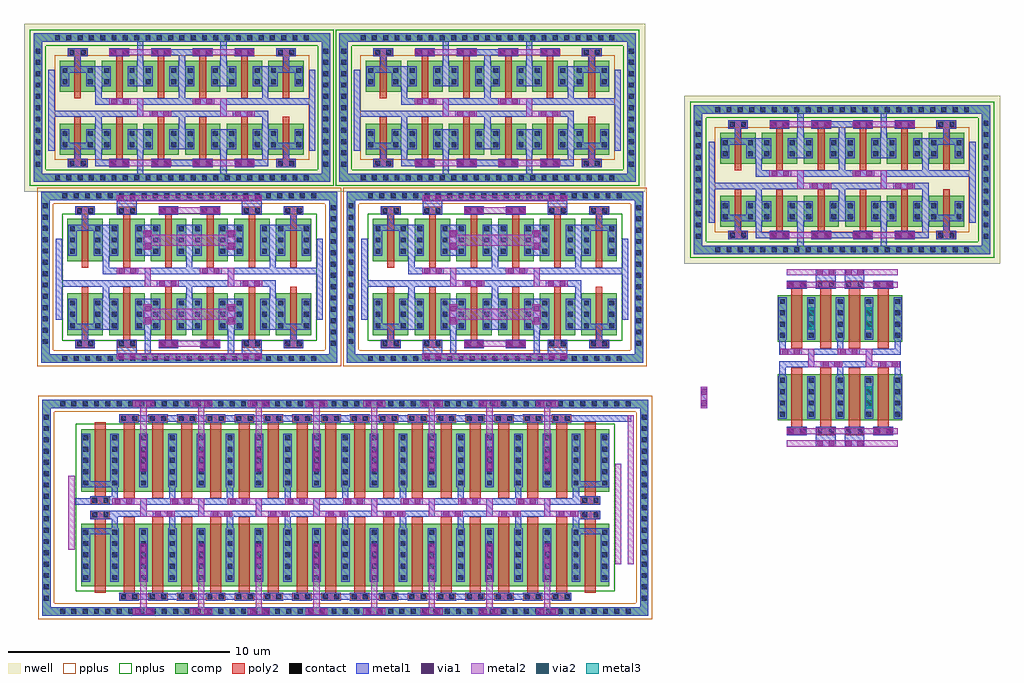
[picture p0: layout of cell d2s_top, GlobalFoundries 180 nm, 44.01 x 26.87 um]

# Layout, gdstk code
from math import pi, radians
import gdstk
lib = gdstk.Library(unit=1e-6, precision=5e-09)
def R(c, l, rs):  # rectangles x0, y0, x1, y1
    for r in rs: c.add(gdstk.rectangle(r[:2], r[2:], *l))
def A(c, l, x, y, w, h, nx, ny, dx, dy):  # array of equal rectangles
    R(c, l, [(x+i*dx, y+j*dy, x+i*dx+w, y+j*dy+h) for i in range(nx) for j in range(ny)])
nwell = (21, 0)
comp = (22, 0)
poly2 = (30, 0)
pplus = (31, 0)
nplus = (32, 0)
contact = (33, 0)
metal1 = (34, 0)
via1 = (35, 0)
metal2 = (36, 0)
via2 = (38, 0)
metal3 = (42, 0)

d2s_ncell_1_1_1 = lib.new_cell('d2s_ncell_1$1$1')
R(d2s_ncell_1_1_1, comp, [(0,0.3,0.46,2.2), (0.46,0.3,1.14,2.2), (1.14,0.3,1.6,2.2)])
R(d2s_ncell_1_1_1, poly2, [(0.65,0,0.95,2.5)])
A(d2s_ncell_1_1_1, contact, 0.12, 0.63, 0.22, 0.22, 1, 3, 0, 0.51)
A(d2s_ncell_1_1_1, contact, 1.26, 0.63, 0.22, 0.22, 1, 3, 0, 0.51)
R(d2s_ncell_1_1_1, metal1, [(0.04,0.55,0.42,1.95), (1.18,0.55,1.56,1.95)])

d2s_ncell_4_1 = lib.new_cell('d2s_ncell_4$1')
A(d2s_ncell_4_1, poly2, 0.365, 2.4, 0.87, 0.36, 6, 1, 1.88, 0)
R(d2s_ncell_4_1, contact, [(0.435,2.47,0.655,2.69), (0.945,2.47,1.165,2.69), (2.315,2.47,2.535,2.69), (2.825,2.47,3.045,2.69), (4.195,2.47,4.415,2.69), (4.705,2.47,4.925,2.69), (6.075,2.47,6.295,2.69), (6.585,2.47,6.805,2.69), (7.955,2.47,8.175,2.69), (8.465,2.47,8.685,2.69), (9.835,2.47,10.055,2.69), (10.345,2.47,10.565,2.69)])
A(d2s_ncell_4_1, metal1, 1.56, 0.55, 0.36, 1.4, 5, 1, 1.88, 0)
R(d2s_ncell_4_1, metal1, [(0.355,2.39,1.245,2.77), (2.235,2.39,3.125,3.28), (4.115,2.39,5.005,2.77), (5.995,2.39,6.885,2.77), (7.875,2.39,8.765,3.28), (9.755,2.39,10.645,2.77)])
R(d2s_ncell_4_1, via1, [(3.49,0.86,3.75,1.12), (7.25,0.86,7.51,1.12), (3.49,1.38,3.75,1.64), (7.25,1.38,7.51,1.64), (4.17,2.45,4.43,2.71), (4.69,2.45,4.95,2.71), (6.055,2.45,6.315,2.71), (6.575,2.45,6.835,2.71), (2.29,3.01,2.55,3.27), (2.81,3.01,3.07,3.27), (7.93,3.01,8.19,3.27), (8.45,3.01,8.71,3.27)])
R(d2s_ncell_4_1, metal2, [(3.43,0.805,3.81,1.695), (7.19,0.805,7.57,1.695)])
d2s_ncell_4_1.add(gdstk.FlexPath([(9.82,1.81),(10.58,1.81)], 0.28, ends="flush", simple_path=True, layer=34, datatype=0))  # metal1
d2s_ncell_4_1.add(gdstk.FlexPath([(10.2,2.39),(10.2,1.95)], 0.28, ends="flush", simple_path=True, layer=34, datatype=0))  # metal1
d2s_ncell_4_1.add(gdstk.FlexPath([(0.8,2.39),(0.8,1.95)], 0.28, ends="flush", simple_path=True, layer=34, datatype=0))  # metal1
d2s_ncell_4_1.add(gdstk.FlexPath([(0.42,1.81),(1.18,1.81)], 0.28, ends="flush", simple_path=True, layer=34, datatype=0))  # metal1
d2s_ncell_4_1.add(gdstk.FlexPath([(3.81,1.25),(7.19,1.25)], 0.5, ends="flush", simple_path=True, layer=36, datatype=0))  # metal2
d2s_ncell_4_1.add(gdstk.FlexPath([(6.89,2.58),(4.11,2.58)], 0.28, ends="flush", simple_path=True, layer=36, datatype=0))  # metal2
d2s_ncell_4_1.add(gdstk.FlexPath([(8.77,3.14),(2.23,3.14)], 0.28, ends="flush", simple_path=True, layer=36, datatype=0))  # metal2
d2s_ncell_4_1.add(gdstk.Reference(d2s_ncell_1_1_1, (0,0)))
d2s_ncell_4_1.add(gdstk.Reference(d2s_ncell_1_1_1, (1.88,0)))
d2s_ncell_4_1.add(gdstk.Reference(d2s_ncell_1_1_1, (3.76,0)))
d2s_ncell_4_1.add(gdstk.Reference(d2s_ncell_1_1_1, (5.64,0)))
d2s_ncell_4_1.add(gdstk.Reference(d2s_ncell_1_1_1, (7.52,0)))
d2s_ncell_4_1.add(gdstk.Reference(d2s_ncell_1_1_1, (9.4,0)))

d2s_ncell_top = lib.new_cell('d2s_ncell_top')
R(d2s_ncell_top, nplus, [(1.11,1.16,12.59,6.89)])
A(d2s_ncell_top, contact, 1.13, 0.25, 0.22, 0.22, 23, 2, 0.51, 7.33)
A(d2s_ncell_top, contact, 13.23, 0.935, 0.22, 0.22, 1, 13, 0, 0.51)
A(d2s_ncell_top, contact, 0.25, 1.015, 0.22, 0.22, 1, 13, 0, 0.51)
R(d2s_ncell_top, via1, [(5.49,3.615,5.75,3.875), (6.01,3.615,6.27,3.875), (9.25,3.615,9.51,3.875), (9.77,3.615,10.03,3.875), (3.67,4.175,3.93,4.435), (4.19,4.175,4.45,4.435), (7.43,4.175,7.69,4.435), (7.95,4.175,8.21,4.435)])
d2s_ncell_top.add(gdstk.FlexPath([(13.34,7.88),(13.34,0.36),(0.36,0.36),(0.36,7.69),(13.53,7.69)], 0.38, ends="flush", simple_path=True, layer=34, datatype=0))  # metal1
d2s_ncell_top.add(gdstk.FlexPath([(10.61,5),(10.61,4.445)], 0.28, ends="flush", simple_path=True, layer=34, datatype=0))  # metal1
d2s_ncell_top.add(gdstk.FlexPath([(6.85,5),(6.85,4.445)], 0.28, ends="flush", simple_path=True, layer=34, datatype=0))  # metal1
d2s_ncell_top.add(gdstk.FlexPath([(3.09,5),(3.09,4.445)], 0.28, ends="flush", simple_path=True, layer=34, datatype=0))  # metal1
d2s_ncell_top.add(gdstk.FlexPath([(6.37,4.305),(4.97,4.305),(4.97,3.745),(3.57,3.745)], 0.28, ends="flush", simple_path=True, layer=34, datatype=0))  # metal1
d2s_ncell_top.add(gdstk.FlexPath([(4.55,4.305),(3.57,4.305)], 0.28, ends="flush", simple_path=True, layer=34, datatype=0))  # metal1
d2s_ncell_top.add(gdstk.FlexPath([(6.37,3.745),(5.39,3.745)], 0.28, ends="flush", simple_path=True, layer=34, datatype=0))  # metal1
d2s_ncell_top.add(gdstk.FlexPath([(6.37,4.305),(7.33,4.305)], 0.28, ends="flush", simple_path=True, layer=34, datatype=0))  # metal1
d2s_ncell_top.add(gdstk.FlexPath([(6.37,3.745),(7.33,3.745)], 0.28, ends="flush", simple_path=True, layer=34, datatype=0))  # metal1
d2s_ncell_top.add(gdstk.FlexPath([(3.57,4.305),(2.95,4.305)], 0.28, ends="flush", simple_path=True, layer=34, datatype=0))  # metal1
d2s_ncell_top.add(gdstk.FlexPath([(3.57,3.745),(2.95,3.745)], 0.28, ends="flush", simple_path=True, layer=34, datatype=0))  # metal1
d2s_ncell_top.add(gdstk.FlexPath([(6.85,5),(6.85,4.445)], 0.28, ends="flush", simple_path=True, layer=34, datatype=0))  # metal1
d2s_ncell_top.add(gdstk.FlexPath([(10.13,4.305),(8.73,4.305),(8.73,3.745),(7.33,3.745)], 0.28, ends="flush", simple_path=True, layer=34, datatype=0))  # metal1
d2s_ncell_top.add(gdstk.FlexPath([(8.31,4.305),(7.33,4.305)], 0.28, ends="flush", simple_path=True, layer=34, datatype=0))  # metal1
d2s_ncell_top.add(gdstk.FlexPath([(10.13,3.745),(9.15,3.745)], 0.28, ends="flush", simple_path=True, layer=34, datatype=0))  # metal1
d2s_ncell_top.add(gdstk.FlexPath([(10.75,4.305),(10.13,4.305)], 0.28, ends="flush", simple_path=True, layer=34, datatype=0))  # metal1
d2s_ncell_top.add(gdstk.FlexPath([(10.75,3.745),(10.13,3.745)], 0.28, ends="flush", simple_path=True, layer=34, datatype=0))  # metal1
d2s_ncell_top.add(gdstk.FlexPath([(10.61,3.605),(10.61,3.05)], 0.28, ends="flush", simple_path=True, layer=34, datatype=0))  # metal1
d2s_ncell_top.add(gdstk.FlexPath([(6.85,3.605),(6.85,3.05)], 0.28, ends="flush", simple_path=True, layer=34, datatype=0))  # metal1
d2s_ncell_top.add(gdstk.FlexPath([(3.09,3.605),(3.09,3.05)], 0.28, ends="flush", simple_path=True, layer=34, datatype=0))  # metal1
d2s_ncell_top.add(gdstk.FlexPath([(6.85,3.605),(6.85,3.05)], 0.28, ends="flush", simple_path=True, layer=34, datatype=0))  # metal1
d2s_ncell_top.add(gdstk.FlexPath([(10.75,4.305),(12.59,4.305)], 0.28, ends="flush", simple_path=True, layer=34, datatype=0))  # metal1
d2s_ncell_top.add(gdstk.FlexPath([(1.11,3.745),(2.95,3.745)], 0.28, ends="flush", simple_path=True, layer=34, datatype=0))  # metal1
d2s_ncell_top.add(gdstk.FlexPath([(12.73,5.76),(12.73,2.11)], 0.28, ends="flush", simple_path=True, layer=34, datatype=0))  # metal1
d2s_ncell_top.add(gdstk.FlexPath([(0.97,5.76),(0.97,2.11)], 0.28, ends="flush", simple_path=True, layer=34, datatype=0))  # metal1
d2s_ncell_top.add(gdstk.FlexPath([(8.73,0.55),(8.73,1.65)], 0.28, ends="flush", simple_path=True, layer=34, datatype=0))  # metal1
d2s_ncell_top.add(gdstk.FlexPath([(4.97,0.55),(4.97,1.65)], 0.28, ends="flush", simple_path=True, layer=34, datatype=0))  # metal1
d2s_ncell_top.add(gdstk.FlexPath([(13.29,5.76),(13.29,2.11)], 0.28, ends="flush", simple_path=True, layer=34, datatype=0))  # metal1
d2s_ncell_top.add(gdstk.FlexPath([(13.34,7.88),(13.34,0.36),(0.36,0.36),(0.36,7.69),(13.53,7.69)], 0.38, ends="flush", simple_path=True, layer=22, datatype=0))  # comp
d2s_ncell_top.add(gdstk.FlexPath([(10.13,3.745),(8.73,3.745),(8.73,4.305),(7.33,4.305)], 0.28, ends="flush", simple_path=True, layer=36, datatype=0))  # metal2
d2s_ncell_top.add(gdstk.FlexPath([(6.37,3.745),(4.97,3.745),(4.97,4.305),(3.57,4.305)], 0.28, ends="flush", simple_path=True, layer=36, datatype=0))  # metal2
d2s_ncell_top.add(gdstk.FlexPath([(13.34,8.05),(13.34,0.36),(0.36,0.36),(0.36,7.69),(13.7,7.69)], 0.72, ends="flush", simple_path=True, layer=31, datatype=0))  # pplus
d2s_ncell_top.add(gdstk.Reference(d2s_ncell_4_1, (1.35,4.45)))
d2s_ncell_top.add(gdstk.Reference(d2s_ncell_4_1, (1.35,3.6), x_reflection=True))

d2s_pcell_1_1_1 = lib.new_cell('d2s_pcell_1$1$1')
R(d2s_pcell_1_1_1, comp, [(0,0.3,0.46,1.7), (0.46,0.3,1.14,1.7), (1.14,0.3,1.6,1.7)])
R(d2s_pcell_1_1_1, poly2, [(0.65,0,0.95,2)])
R(d2s_pcell_1_1_1, contact, [(0.12,0.635,0.34,0.855), (1.26,0.635,1.48,0.855), (0.12,1.145,0.34,1.365), (1.26,1.145,1.48,1.365)])
R(d2s_pcell_1_1_1, metal1, [(0.04,0.555,0.42,1.445), (1.18,0.555,1.56,1.445)])

d2s_pcell_4_1 = lib.new_cell('d2s_pcell_4$1')
A(d2s_pcell_4_1, poly2, 0.365, 1.9, 0.87, 0.36, 6, 1, 1.88, 0)
R(d2s_pcell_4_1, contact, [(0.435,1.97,0.655,2.19), (0.945,1.97,1.165,2.19), (2.315,1.97,2.535,2.19), (2.825,1.97,3.045,2.19), (4.195,1.97,4.415,2.19), (4.705,1.97,4.925,2.19), (6.075,1.97,6.295,2.19), (6.585,1.97,6.805,2.19), (7.955,1.97,8.175,2.19), (8.465,1.97,8.685,2.19), (9.835,1.97,10.055,2.19), (10.345,1.97,10.565,2.19)])
A(d2s_pcell_4_1, metal1, 1.56, 0.555, 0.36, 0.89, 5, 1, 1.88, 0)
A(d2s_pcell_4_1, metal1, 0.355, 1.89, 0.89, 0.38, 6, 1, 1.88, 0)
R(d2s_pcell_4_1, via1, [(2.29,1.95,2.55,2.21), (2.81,1.95,3.07,2.21), (4.17,1.95,4.43,2.21), (4.69,1.95,4.95,2.21), (6.05,1.95,6.31,2.21), (6.57,1.95,6.83,2.21), (7.93,1.95,8.19,2.21), (8.45,1.95,8.71,2.21)])
d2s_pcell_4_1.add(gdstk.FlexPath([(10.2,1.89),(10.2,1.445)], 0.28, ends="flush", simple_path=True, layer=34, datatype=0))  # metal1
d2s_pcell_4_1.add(gdstk.FlexPath([(9.82,1.305),(10.58,1.305)], 0.28, ends="flush", simple_path=True, layer=34, datatype=0))  # metal1
d2s_pcell_4_1.add(gdstk.FlexPath([(0.8,1.89),(0.8,1.445)], 0.28, ends="flush", simple_path=True, layer=34, datatype=0))  # metal1
d2s_pcell_4_1.add(gdstk.FlexPath([(1.18,1.305),(0.42,1.305)], 0.28, ends="flush", simple_path=True, layer=34, datatype=0))  # metal1
d2s_pcell_4_1.add(gdstk.FlexPath([(5.01,2.08),(2.23,2.08)], 0.28, ends="flush", simple_path=True, layer=36, datatype=0))  # metal2
d2s_pcell_4_1.add(gdstk.FlexPath([(8.77,2.08),(5.99,2.08)], 0.28, ends="flush", simple_path=True, layer=36, datatype=0))  # metal2
d2s_pcell_4_1.add(gdstk.Reference(d2s_pcell_1_1_1, (1.88,0)))
d2s_pcell_4_1.add(gdstk.Reference(d2s_pcell_1_1_1, (3.76,0)))
d2s_pcell_4_1.add(gdstk.Reference(d2s_pcell_1_1_1, (5.64,0)))
d2s_pcell_4_1.add(gdstk.Reference(d2s_pcell_1_1_1, (7.52,0)))
d2s_pcell_4_1.add(gdstk.Reference(d2s_pcell_1_1_1, (9.4,0)))
d2s_pcell_4_1.add(gdstk.Reference(d2s_pcell_1_1_1, (1.6,0), rotation=pi, x_reflection=True))

d2s_pcell_top = lib.new_cell('d2s_pcell_top')
R(d2s_pcell_top, nwell, [(0,0,14.24,7.58)])
R(d2s_pcell_top, pplus, [(1.38,1.43,12.86,6.15)])
A(d2s_pcell_top, contact, 1.4, 0.52, 0.22, 0.22, 23, 2, 0.51, 6.32)
A(d2s_pcell_top, contact, 0.52, 1.13, 0.22, 0.22, 1, 11, 0, 0.51)
A(d2s_pcell_top, contact, 13.5, 1.13, 0.22, 0.22, 1, 11, 0, 0.51)
R(d2s_pcell_top, via1, [(5.76,3.38,6.02,3.64), (6.28,3.38,6.54,3.64), (9.52,3.38,9.78,3.64), (10.04,3.38,10.3,3.64), (3.94,3.94,4.2,4.2), (4.46,3.94,4.72,4.2), (7.7,3.94,7.96,4.2), (8.22,3.94,8.48,4.2)])
d2s_pcell_top.add(gdstk.FlexPath([(13.61,7.14),(13.61,0.63),(0.63,0.63),(0.63,6.95),(13.42,6.95)], 0.38, ends="flush", simple_path=True, layer=34, datatype=0))  # metal1
d2s_pcell_top.add(gdstk.FlexPath([(10.88,4.765),(10.88,4.21)], 0.28, ends="flush", simple_path=True, layer=34, datatype=0))  # metal1
d2s_pcell_top.add(gdstk.FlexPath([(7.12,4.765),(7.12,4.21)], 0.28, ends="flush", simple_path=True, layer=34, datatype=0))  # metal1
d2s_pcell_top.add(gdstk.FlexPath([(3.36,4.765),(3.36,4.21)], 0.28, ends="flush", simple_path=True, layer=34, datatype=0))  # metal1
d2s_pcell_top.add(gdstk.FlexPath([(6.64,4.07),(5.24,4.07),(5.24,3.51),(3.84,3.51)], 0.28, ends="flush", simple_path=True, layer=34, datatype=0))  # metal1
d2s_pcell_top.add(gdstk.FlexPath([(4.82,4.07),(3.84,4.07)], 0.28, ends="flush", simple_path=True, layer=34, datatype=0))  # metal1
d2s_pcell_top.add(gdstk.FlexPath([(6.64,3.51),(5.66,3.51)], 0.28, ends="flush", simple_path=True, layer=34, datatype=0))  # metal1
d2s_pcell_top.add(gdstk.FlexPath([(6.64,4.07),(7.6,4.07)], 0.28, ends="flush", simple_path=True, layer=34, datatype=0))  # metal1
d2s_pcell_top.add(gdstk.FlexPath([(6.64,3.51),(7.6,3.51)], 0.28, ends="flush", simple_path=True, layer=34, datatype=0))  # metal1
d2s_pcell_top.add(gdstk.FlexPath([(3.84,4.07),(3.22,4.07)], 0.28, ends="flush", simple_path=True, layer=34, datatype=0))  # metal1
d2s_pcell_top.add(gdstk.FlexPath([(3.84,3.51),(3.22,3.51)], 0.28, ends="flush", simple_path=True, layer=34, datatype=0))  # metal1
d2s_pcell_top.add(gdstk.FlexPath([(7.12,4.765),(7.12,4.21)], 0.28, ends="flush", simple_path=True, layer=34, datatype=0))  # metal1
d2s_pcell_top.add(gdstk.FlexPath([(10.4,4.07),(9,4.07),(9,3.51),(7.6,3.51)], 0.28, ends="flush", simple_path=True, layer=34, datatype=0))  # metal1
d2s_pcell_top.add(gdstk.FlexPath([(7.12,5.655),(7.12,6.15)], 0.28, ends="flush", simple_path=True, layer=34, datatype=0))  # metal1
d2s_pcell_top.add(gdstk.FlexPath([(10.385,1.29),(10.88,1.29),(10.88,1.925)], 0.28, ends="flush", simple_path=True, layer=34, datatype=0))  # metal1
d2s_pcell_top.add(gdstk.FlexPath([(3.855,1.29),(3.36,1.29),(3.36,1.925)], 0.28, ends="flush", simple_path=True, layer=34, datatype=0))  # metal1
d2s_pcell_top.add(gdstk.FlexPath([(8.58,4.07),(7.6,4.07)], 0.28, ends="flush", simple_path=True, layer=34, datatype=0))  # metal1
d2s_pcell_top.add(gdstk.FlexPath([(10.4,3.51),(9.42,3.51)], 0.28, ends="flush", simple_path=True, layer=34, datatype=0))  # metal1
d2s_pcell_top.add(gdstk.FlexPath([(11.02,4.07),(10.4,4.07)], 0.28, ends="flush", simple_path=True, layer=34, datatype=0))  # metal1
d2s_pcell_top.add(gdstk.FlexPath([(11.02,3.51),(10.4,3.51)], 0.28, ends="flush", simple_path=True, layer=34, datatype=0))  # metal1
d2s_pcell_top.add(gdstk.FlexPath([(10.88,3.37),(10.88,2.815)], 0.28, ends="flush", simple_path=True, layer=34, datatype=0))  # metal1
d2s_pcell_top.add(gdstk.FlexPath([(7.12,3.37),(7.12,2.815)], 0.28, ends="flush", simple_path=True, layer=34, datatype=0))  # metal1
d2s_pcell_top.add(gdstk.FlexPath([(3.36,3.37),(3.36,2.815)], 0.28, ends="flush", simple_path=True, layer=34, datatype=0))  # metal1
d2s_pcell_top.add(gdstk.FlexPath([(7.12,3.37),(7.12,2.815)], 0.28, ends="flush", simple_path=True, layer=34, datatype=0))  # metal1
d2s_pcell_top.add(gdstk.FlexPath([(7.615,6.29),(6.625,6.29)], 0.28, ends="flush", simple_path=True, layer=34, datatype=0))  # metal1
d2s_pcell_top.add(gdstk.FlexPath([(7.615,1.29),(6.625,1.29)], 0.28, ends="flush", simple_path=True, layer=34, datatype=0))  # metal1
d2s_pcell_top.add(gdstk.FlexPath([(5.24,1.925),(5.24,0.82)], 0.28, ends="flush", simple_path=True, layer=34, datatype=0))  # metal1
d2s_pcell_top.add(gdstk.FlexPath([(9,1.925),(9,0.82)], 0.28, ends="flush", simple_path=True, layer=34, datatype=0))  # metal1
d2s_pcell_top.add(gdstk.FlexPath([(5.24,6.76),(5.24,5.655)], 0.28, ends="flush", simple_path=True, layer=34, datatype=0))  # metal1
d2s_pcell_top.add(gdstk.FlexPath([(9,6.76),(9,5.655)], 0.28, ends="flush", simple_path=True, layer=34, datatype=0))  # metal1
d2s_pcell_top.add(gdstk.FlexPath([(11.02,4.07),(12.86,4.07)], 0.28, ends="flush", simple_path=True, layer=34, datatype=0))  # metal1
d2s_pcell_top.add(gdstk.FlexPath([(13,5.495),(13,1.845)], 0.28, ends="flush", simple_path=True, layer=34, datatype=0))  # metal1
d2s_pcell_top.add(gdstk.FlexPath([(1.38,3.51),(3.22,3.51)], 0.28, ends="flush", simple_path=True, layer=34, datatype=0))  # metal1
d2s_pcell_top.add(gdstk.FlexPath([(1.24,5.495),(1.24,1.845)], 0.28, ends="flush", simple_path=True, layer=34, datatype=0))  # metal1
d2s_pcell_top.add(gdstk.FlexPath([(13.61,7.14),(13.61,0.63),(0.63,0.63),(0.63,6.95),(13.42,6.95)], 0.38, ends="flush", simple_path=True, layer=22, datatype=0))  # comp
d2s_pcell_top.add(gdstk.FlexPath([(10.4,3.51),(9,3.51),(9,4.07),(7.6,4.07)], 0.28, ends="flush", simple_path=True, layer=36, datatype=0))  # metal2
d2s_pcell_top.add(gdstk.FlexPath([(6.64,3.51),(5.24,3.51),(5.24,4.07),(3.84,4.07)], 0.28, ends="flush", simple_path=True, layer=36, datatype=0))  # metal2
d2s_pcell_top.add(gdstk.FlexPath([(13.61,7.31),(13.61,0.63),(0.63,0.63),(0.63,6.95),(13.97,6.95)], 0.72, ends="flush", simple_path=True, layer=32, datatype=0))  # nplus
d2s_pcell_top.add(gdstk.Reference(d2s_pcell_4_1, (1.62,4.21)))
d2s_pcell_top.add(gdstk.Reference(d2s_pcell_4_1, (1.62,3.37), x_reflection=True))

delay_stage_ncell_1_1_2 = lib.new_cell('delay_stage_ncell_1$1$2')
R(delay_stage_ncell_1_1_2, comp, [(0,0.3,0.42,2.38), (0.42,0.3,1.3,2.38), (1.3,0.3,1.72,2.38)])
R(delay_stage_ncell_1_1_2, poly2, [(0.61,0,1.11,2.68)])
A(delay_stage_ncell_1_1_2, contact, 0.1, 0.465, 0.22, 0.22, 1, 4, 0, 0.51)
A(delay_stage_ncell_1_1_2, contact, 1.4, 0.465, 0.22, 0.22, 1, 4, 0, 0.51)
R(delay_stage_ncell_1_1_2, metal1, [(0.02,0.385,0.4,2.295), (1.32,0.385,1.7,2.295)])

delay_stage_ncell_4_1 = lib.new_cell('delay_stage_ncell_4$1')
A(delay_stage_ncell_4_1, poly2, 0.425, 2.675, 0.87, 0.36, 4, 1, 1.3, 0)
R(delay_stage_ncell_4_1, contact, [(0.495,2.745,0.715,2.965), (1.005,2.745,1.225,2.965), (1.795,2.745,2.015,2.965), (2.305,2.745,2.525,2.965), (3.095,2.745,3.315,2.965), (3.605,2.745,3.825,2.965), (4.395,2.745,4.615,2.965), (4.905,2.745,5.125,2.965)])
A(delay_stage_ncell_4_1, metal1, 0.415, 2.665, 0.89, 0.38, 4, 1, 1.3, 0)
delay_stage_ncell_4_1.add(gdstk.Reference(delay_stage_ncell_1_1_2, (0,-0.005)))
delay_stage_ncell_4_1.add(gdstk.Reference(delay_stage_ncell_1_1_2, (1.3,-0.005)))
delay_stage_ncell_4_1.add(gdstk.Reference(delay_stage_ncell_1_1_2, (2.6,-0.005)))
delay_stage_ncell_4_1.add(gdstk.Reference(delay_stage_ncell_1_1_2, (3.9,-0.005)))

d2s_tail_current_ncell_1 = lib.new_cell('d2s_tail_current_ncell_1$1$1$1')
R(d2s_tail_current_ncell_1, comp, [(0,0.3,0.42,3.12), (0.42,0.3,1.3,3.12), (1.3,0.3,1.72,3.12)])
R(d2s_tail_current_ncell_1, poly2, [(0.61,0,1.11,3.42)])
A(d2s_tail_current_ncell_1, contact, 0.1, 0.58, 0.22, 0.22, 1, 5, 0, 0.51)
A(d2s_tail_current_ncell_1, contact, 1.4, 0.58, 0.22, 0.22, 1, 5, 0, 0.51)
R(d2s_tail_current_ncell_1, metal1, [(0.02,0.5,0.4,2.92), (1.32,0.5,1.7,2.92)])

d2s_tail_current_ncell_4 = lib.new_cell('d2s_tail_current_ncell_4$1$1')
A(d2s_tail_current_ncell_4, poly2, 0.425, 3.42, 0.87, 0.36, 4, 1, 1.3, 0)
R(d2s_tail_current_ncell_4, contact, [(0.495,3.49,0.715,3.71), (1.005,3.49,1.225,3.71), (1.795,3.49,2.015,3.71), (2.305,3.49,2.525,3.71), (3.095,3.49,3.315,3.71), (3.605,3.49,3.825,3.71), (4.395,3.49,4.615,3.71), (4.905,3.49,5.125,3.71)])
A(d2s_tail_current_ncell_4, metal1, 0.415, 3.41, 0.89, 0.38, 4, 1, 1.3, 0)
d2s_tail_current_ncell_4.add(gdstk.Reference(d2s_tail_current_ncell_1, (0,0)))
d2s_tail_current_ncell_4.add(gdstk.Reference(d2s_tail_current_ncell_1, (1.3,0)))
d2s_tail_current_ncell_4.add(gdstk.Reference(d2s_tail_current_ncell_1, (2.6,0)))
d2s_tail_current_ncell_4.add(gdstk.Reference(d2s_tail_current_ncell_1, (3.9,0)))

c_d2s_tail_current_ncell_4 = lib.new_cell('d2s_tail_current_ncell_4_4$1')
R(c_d2s_tail_current_ncell_4, via1, [(1.12,0.23,1.38,0.49), (1.64,0.23,1.9,0.49), (3.72,0.23,3.98,0.49), (4.24,0.23,4.5,0.49), (1.38,2.52,1.64,2.78), (3.98,2.52,4.24,2.78), (1.38,3.04,1.64,3.3), (3.98,3.04,4.24,3.3), (2.03,4.63,2.29,4.89), (2.55,4.63,2.81,4.89), (4.63,4.63,4.89,4.89), (5.15,4.63,5.41,4.89), (0.21,5.19,0.47,5.45), (0.73,5.19,0.99,5.45), (2.81,5.19,3.07,5.45), (3.33,5.19,3.59,5.45), (1.38,6.78,1.64,7.04), (3.98,6.78,4.24,7.04), (1.38,7.3,1.64,7.56), (3.98,7.3,4.24,7.56), (1.12,9.59,1.38,9.85), (1.64,9.59,1.9,9.85), (3.72,9.59,3.98,9.85), (4.24,9.59,4.5,9.85)])
c_d2s_tail_current_ncell_4.add(gdstk.FlexPath([(1.305,1.02),(5.41,1.02)], 0.28, ends="flush", simple_path=True, layer=34, datatype=0))  # metal1
c_d2s_tail_current_ncell_4.add(gdstk.FlexPath([(2.81,5.96),(2.81,5.46)], 0.28, ends="flush", simple_path=True, layer=34, datatype=0))  # metal1
c_d2s_tail_current_ncell_4.add(gdstk.FlexPath([(0.21,9.72),(5.41,9.72)], 0.38, ends="flush", simple_path=True, layer=34, datatype=0))  # metal1
c_d2s_tail_current_ncell_4.add(gdstk.FlexPath([(2.81,4.12),(2.81,4.62)], 0.28, ends="flush", simple_path=True, layer=34, datatype=0))  # metal1
c_d2s_tail_current_ncell_4.add(gdstk.FlexPath([(0.21,4.12),(0.21,4.62)], 0.28, ends="flush", simple_path=True, layer=34, datatype=0))  # metal1
c_d2s_tail_current_ncell_4.add(gdstk.FlexPath([(0.21,5.96),(0.21,5.46)], 0.28, ends="flush", simple_path=True, layer=34, datatype=0))  # metal1
c_d2s_tail_current_ncell_4.add(gdstk.FlexPath([(2.91,5.32),(1.51,5.32),(1.51,4.76),(0.07,4.76)], 0.28, ends="flush", simple_path=True, layer=34, datatype=0))  # metal1
c_d2s_tail_current_ncell_4.add(gdstk.FlexPath([(1.09,5.32),(0.07,5.32)], 0.28, ends="flush", simple_path=True, layer=34, datatype=0))  # metal1
c_d2s_tail_current_ncell_4.add(gdstk.FlexPath([(5.41,4.12),(5.41,4.62)], 0.28, ends="flush", simple_path=True, layer=34, datatype=0))  # metal1
c_d2s_tail_current_ncell_4.add(gdstk.FlexPath([(5.55,5.32),(4.11,5.32),(4.11,4.76),(2.71,4.76)], 0.28, ends="flush", simple_path=True, layer=34, datatype=0))  # metal1
c_d2s_tail_current_ncell_4.add(gdstk.FlexPath([(3.69,5.32),(2.71,5.32)], 0.28, ends="flush", simple_path=True, layer=34, datatype=0))  # metal1
c_d2s_tail_current_ncell_4.add(gdstk.FlexPath([(5.41,5.96),(5.41,5.46)], 0.28, ends="flush", simple_path=True, layer=34, datatype=0))  # metal1
c_d2s_tail_current_ncell_4.add(gdstk.FlexPath([(2.81,4.12),(2.81,4.62)], 0.28, ends="flush", simple_path=True, layer=34, datatype=0))  # metal1
c_d2s_tail_current_ncell_4.add(gdstk.FlexPath([(5.55,4.76),(4.53,4.76)], 0.28, ends="flush", simple_path=True, layer=34, datatype=0))  # metal1
c_d2s_tail_current_ncell_4.add(gdstk.FlexPath([(2.81,5.96),(2.81,5.46)], 0.28, ends="flush", simple_path=True, layer=34, datatype=0))  # metal1
c_d2s_tail_current_ncell_4.add(gdstk.FlexPath([(2.91,4.76),(1.93,4.76)], 0.28, ends="flush", simple_path=True, layer=34, datatype=0))  # metal1
c_d2s_tail_current_ncell_4.add(gdstk.FlexPath([(1.305,9.06),(5.41,9.06)], 0.28, ends="flush", simple_path=True, layer=34, datatype=0))  # metal1
c_d2s_tail_current_ncell_4.add(gdstk.FlexPath([(0.21,0.36),(5.41,0.36)], 0.38, ends="flush", simple_path=True, layer=34, datatype=0))  # metal1
c_d2s_tail_current_ncell_4.add(gdstk.FlexPath([(0.21,9.72),(5.41,9.72)], 0.38, ends="flush", simple_path=True, layer=22, datatype=0))  # comp
c_d2s_tail_current_ncell_4.add(gdstk.FlexPath([(0.21,0.36),(5.41,0.36)], 0.38, ends="flush", simple_path=True, layer=22, datatype=0))  # comp
c_d2s_tail_current_ncell_4.add(gdstk.FlexPath([(2.91,4.76),(1.51,4.76),(1.51,5.32),(0.11,5.32)], 0.28, ends="flush", simple_path=True, layer=36, datatype=0))  # metal2
c_d2s_tail_current_ncell_4.add(gdstk.FlexPath([(5.51,4.76),(4.11,4.76),(4.11,5.32),(2.71,5.32)], 0.28, ends="flush", simple_path=True, layer=36, datatype=0))  # metal2
c_d2s_tail_current_ncell_4.add(gdstk.FlexPath([(4.11,6.68),(4.11,7.66)], 0.28, ends="flush", simple_path=True, layer=36, datatype=0))  # metal2
c_d2s_tail_current_ncell_4.add(gdstk.FlexPath([(1.51,6.68),(1.51,7.66)], 0.28, ends="flush", simple_path=True, layer=36, datatype=0))  # metal2
c_d2s_tail_current_ncell_4.add(gdstk.FlexPath([(4.11,2.42),(4.11,3.4)], 0.28, ends="flush", simple_path=True, layer=36, datatype=0))  # metal2
c_d2s_tail_current_ncell_4.add(gdstk.FlexPath([(1.51,2.42),(1.51,3.4)], 0.28, ends="flush", simple_path=True, layer=36, datatype=0))  # metal2
c_d2s_tail_current_ncell_4.add(gdstk.FlexPath([(1.02,9.72),(2,9.72)], 0.28, ends="flush", simple_path=True, layer=36, datatype=0))  # metal2
c_d2s_tail_current_ncell_4.add(gdstk.FlexPath([(1.51,7.66),(1.51,9.58)], 0.28, ends="flush", simple_path=True, layer=36, datatype=0))  # metal2
c_d2s_tail_current_ncell_4.add(gdstk.FlexPath([(4.11,7.66),(4.11,9.58)], 0.28, ends="flush", simple_path=True, layer=36, datatype=0))  # metal2
c_d2s_tail_current_ncell_4.add(gdstk.FlexPath([(3.62,9.72),(4.6,9.72)], 0.28, ends="flush", simple_path=True, layer=36, datatype=0))  # metal2
c_d2s_tail_current_ncell_4.add(gdstk.FlexPath([(1.02,0.36),(2,0.36)], 0.28, ends="flush", simple_path=True, layer=36, datatype=0))  # metal2
c_d2s_tail_current_ncell_4.add(gdstk.FlexPath([(1.51,2.42),(1.51,0.5)], 0.28, ends="flush", simple_path=True, layer=36, datatype=0))  # metal2
c_d2s_tail_current_ncell_4.add(gdstk.FlexPath([(4.11,2.42),(4.11,0.5)], 0.28, ends="flush", simple_path=True, layer=36, datatype=0))  # metal2
c_d2s_tail_current_ncell_4.add(gdstk.FlexPath([(3.62,0.36),(4.6,0.36)], 0.28, ends="flush", simple_path=True, layer=36, datatype=0))  # metal2
c_d2s_tail_current_ncell_4.add(gdstk.FlexPath([(0.21,9.72),(5.41,9.72)], 0.72, ends="flush", simple_path=True, layer=31, datatype=0))  # pplus
c_d2s_tail_current_ncell_4.add(gdstk.FlexPath([(0.21,0.36),(5.41,0.36)], 0.72, ends="flush", simple_path=True, layer=31, datatype=0))  # pplus
c_d2s_tail_current_ncell_4.add(gdstk.Reference(d2s_tail_current_ncell_4, (0,5.46)))
c_d2s_tail_current_ncell_4.add(gdstk.Reference(d2s_tail_current_ncell_4, (0,4.62), x_reflection=True))

c_d2s_tail_current_ncell_1 = lib.new_cell('d2s_tail_current_ncell_1$2')
R(c_d2s_tail_current_ncell_1, comp, [(0,0.3,0.42,3.12), (0.42,0.3,1.3,3.12), (1.3,0.3,1.72,3.12)])
R(c_d2s_tail_current_ncell_1, poly2, [(0.61,0,1.11,3.42)])
A(c_d2s_tail_current_ncell_1, contact, 0.1, 0.58, 0.22, 0.22, 1, 5, 0, 0.51)
A(c_d2s_tail_current_ncell_1, contact, 1.4, 0.58, 0.22, 0.22, 1, 5, 0, 0.51)
R(c_d2s_tail_current_ncell_1, metal1, [(0.02,0.5,0.4,2.92), (1.32,0.5,1.7,2.92)])

d2s_tail_current_top = lib.new_cell('d2s_tail_current_top')
R(d2s_tail_current_top, poly2, [(1.795,4.53,2.665,4.89), (23.895,4.53,24.765,4.89), (1.795,5.19,2.665,5.55), (23.895,5.19,24.765,5.55)])
R(d2s_tail_current_top, nplus, [(1.13,1.26,25.43,8.82)])
A(d2s_tail_current_top, contact, 0.42, 0.25, 0.22, 0.22, 51, 2, 0.51, 9.36)
A(d2s_tail_current_top, contact, -0.31, 0.85, 0.22, 0.22, 1, 17, 0, 0.51)
A(d2s_tail_current_top, contact, 26.65, 0.85, 0.22, 0.22, 1, 17, 0, 0.51)
R(d2s_tail_current_top, contact, [(1.865,4.6,2.085,4.82), (2.375,4.6,2.595,4.82), (23.965,4.6,24.185,4.82), (24.475,4.6,24.695,4.82), (1.865,5.26,2.085,5.48), (2.375,5.26,2.595,5.48), (23.965,5.26,24.185,5.48), (24.475,5.26,24.695,5.48)])
R(d2s_tail_current_top, metal1, [(1.785,4.52,2.675,4.9), (2.675,4.52,2.74,4.9), (23.82,4.52,23.885,4.9), (23.885,4.52,24.775,4.9), (1.785,5.18,2.675,5.56), (2.675,5.18,2.74,5.56), (23.82,5.18,23.885,5.56), (23.885,5.18,24.775,5.56), (34.495,7.79,35.385,8.3), (35.795,7.79,36.685,8.3), (34.495,15.28,35.385,15.79), (35.795,15.28,36.685,15.79)])
R(d2s_tail_current_top, via1, [(34.55,7.8,34.81,8.06), (35.07,7.8,35.33,8.06), (35.85,7.8,36.11,8.06), (36.37,7.8,36.63,8.06), (33.25,8.36,33.51,8.62), (33.77,8.36,34.03,8.62), (37.15,8.36,37.41,8.62), (37.67,8.36,37.93,8.62), (29.325,9.62,29.585,9.88), (36.76,9.62,37.02,9.88), (29.325,10.14,29.585,10.4), (36.76,10.14,37.02,10.4), (34.81,11.38,35.07,11.64), (35.33,11.38,35.59,11.64), (37.41,11.38,37.67,11.64), (37.93,11.38,38.19,11.64), (32.99,11.94,33.25,12.2), (33.51,11.94,33.77,12.2), (35.59,11.94,35.85,12.2), (36.11,11.94,36.37,12.2), (34.16,13.18,34.42,13.44), (36.76,13.18,37.02,13.44), (34.16,13.7,34.42,13.96), (36.76,13.7,37.02,13.96), (33.25,14.96,33.51,15.22), (33.77,14.96,34.03,15.22), (37.15,14.96,37.41,15.22), (37.67,14.96,37.93,15.22), (34.55,15.52,34.81,15.78), (35.07,15.52,35.33,15.78), (35.85,15.52,36.11,15.78), (36.37,15.52,36.63,15.78)])
R(d2s_tail_current_top, via2, [(36.76,9.62,37.02,9.88), (36.76,10.14,37.02,10.4), (34.16,13.18,34.42,13.44), (36.76,13.18,37.02,13.44), (34.16,13.7,34.42,13.96), (36.76,13.7,37.02,13.96)])
d2s_tail_current_top.add(gdstk.FlexPath([(23.68,9.72),(26.76,9.72),(26.76,0.36),(23.68,0.36)], 0.38, ends="flush", simple_path=True, layer=34, datatype=0))  # metal1
d2s_tail_current_top.add(gdstk.FlexPath([(2.88,9.72),(-0.2,9.72),(-0.2,0.36),(2.88,0.36)], 0.38, ends="flush", simple_path=True, layer=34, datatype=0))  # metal1
d2s_tail_current_top.add(gdstk.FlexPath([(13.075,9.06),(13.485,9.06)], 0.28, ends="flush", simple_path=True, layer=34, datatype=0))  # metal1
d2s_tail_current_top.add(gdstk.FlexPath([(13.075,1.02),(13.485,1.02)], 0.28, ends="flush", simple_path=True, layer=34, datatype=0))  # metal1
d2s_tail_current_top.add(gdstk.FlexPath([(24.79,6.1),(23.87,6.1)], 0.28, ends="flush", simple_path=True, layer=34, datatype=0))  # metal1
d2s_tail_current_top.add(gdstk.FlexPath([(24.79,3.98),(23.87,3.98)], 0.28, ends="flush", simple_path=True, layer=34, datatype=0))  # metal1
d2s_tail_current_top.add(gdstk.FlexPath([(1.77,6.1),(2.69,6.1)], 0.28, ends="flush", simple_path=True, layer=34, datatype=0))  # metal1
d2s_tail_current_top.add(gdstk.FlexPath([(1.77,3.98),(2.69,3.98)], 0.28, ends="flush", simple_path=True, layer=34, datatype=0))  # metal1
d2s_tail_current_top.add(gdstk.FlexPath([(1.785,5.32),(1.075,5.32)], 0.28, ends="flush", simple_path=True, layer=34, datatype=0))  # metal1
d2s_tail_current_top.add(gdstk.FlexPath([(23.475,9.06),(26.17,9.06)], 0.28, ends="flush", simple_path=True, layer=34, datatype=0))  # metal1
d2s_tail_current_top.add(gdstk.FlexPath([(35.59,12.615),(35.59,12.21)], 0.28, ends="flush", simple_path=True, layer=34, datatype=0))  # metal1
d2s_tail_current_top.add(gdstk.FlexPath([(35.59,10.965),(35.59,11.37)], 0.28, ends="flush", simple_path=True, layer=34, datatype=0))  # metal1
d2s_tail_current_top.add(gdstk.FlexPath([(32.99,10.965),(32.99,11.37)], 0.28, ends="flush", simple_path=True, layer=34, datatype=0))  # metal1
d2s_tail_current_top.add(gdstk.FlexPath([(32.99,12.615),(32.99,12.21)], 0.28, ends="flush", simple_path=True, layer=34, datatype=0))  # metal1
d2s_tail_current_top.add(gdstk.FlexPath([(35.69,12.07),(34.29,12.07),(34.29,11.51),(32.85,11.51)], 0.28, ends="flush", simple_path=True, layer=34, datatype=0))  # metal1
d2s_tail_current_top.add(gdstk.FlexPath([(33.87,12.07),(32.85,12.07)], 0.28, ends="flush", simple_path=True, layer=34, datatype=0))  # metal1
d2s_tail_current_top.add(gdstk.FlexPath([(38.19,10.965),(38.19,11.37)], 0.28, ends="flush", simple_path=True, layer=34, datatype=0))  # metal1
d2s_tail_current_top.add(gdstk.FlexPath([(38.33,12.07),(36.89,12.07),(36.89,11.51),(35.49,11.51)], 0.28, ends="flush", simple_path=True, layer=34, datatype=0))  # metal1
d2s_tail_current_top.add(gdstk.FlexPath([(36.47,12.07),(35.49,12.07)], 0.28, ends="flush", simple_path=True, layer=34, datatype=0))  # metal1
d2s_tail_current_top.add(gdstk.FlexPath([(38.19,12.615),(38.19,12.21)], 0.28, ends="flush", simple_path=True, layer=34, datatype=0))  # metal1
d2s_tail_current_top.add(gdstk.FlexPath([(35.59,10.965),(35.59,11.37)], 0.28, ends="flush", simple_path=True, layer=34, datatype=0))  # metal1
d2s_tail_current_top.add(gdstk.FlexPath([(38.33,11.51),(37.31,11.51)], 0.28, ends="flush", simple_path=True, layer=34, datatype=0))  # metal1
d2s_tail_current_top.add(gdstk.FlexPath([(35.59,12.615),(35.59,12.21)], 0.28, ends="flush", simple_path=True, layer=34, datatype=0))  # metal1
d2s_tail_current_top.add(gdstk.FlexPath([(35.69,11.51),(34.71,11.51)], 0.28, ends="flush", simple_path=True, layer=34, datatype=0))  # metal1
d2s_tail_current_top.add(gdstk.FlexPath([(29.455,9.52),(29.455,10.5)], 0.28, ends="flush", simple_path=True, layer=34, datatype=0))  # metal1
d2s_tail_current_top.add(gdstk.FlexPath([(23.68,9.72),(26.76,9.72),(26.76,0.36),(23.68,0.36)], 0.38, ends="flush", simple_path=True, layer=22, datatype=0))  # comp
d2s_tail_current_top.add(gdstk.FlexPath([(2.88,9.72),(-0.2,9.72),(-0.2,0.36),(2.88,0.36)], 0.38, ends="flush", simple_path=True, layer=22, datatype=0))  # comp
d2s_tail_current_top.add(gdstk.FlexPath([(25.59,7.025),(25.59,2.49)], 0.28, ends="flush", simple_path=True, layer=36, datatype=0))  # metal2
d2s_tail_current_top.add(gdstk.FlexPath([(0.935,6.48),(0.935,3.13)], 0.28, ends="flush", simple_path=True, layer=36, datatype=0))  # metal2
d2s_tail_current_top.add(gdstk.FlexPath([(26.15,9.2),(26.15,2.49)], 0.28, ends="flush", simple_path=True, layer=36, datatype=0))  # metal2
d2s_tail_current_top.add(gdstk.FlexPath([(38.19,15.09),(33.185,15.09)], 0.28, ends="flush", simple_path=True, layer=36, datatype=0))  # metal2
d2s_tail_current_top.add(gdstk.FlexPath([(38.19,15.65),(33.185,15.65)], 0.28, ends="flush", simple_path=True, layer=36, datatype=0))  # metal2
d2s_tail_current_top.add(gdstk.FlexPath([(38.19,8.49),(33.185,8.49)], 0.28, ends="flush", simple_path=True, layer=36, datatype=0))  # metal2
d2s_tail_current_top.add(gdstk.FlexPath([(38.19,7.93),(33.185,7.93)], 0.28, ends="flush", simple_path=True, layer=36, datatype=0))  # metal2
d2s_tail_current_top.add(gdstk.FlexPath([(36.89,13.08),(36.89,14.06)], 0.28, ends="flush", simple_path=True, layer=36, datatype=0))  # metal2
d2s_tail_current_top.add(gdstk.FlexPath([(34.29,13.08),(34.29,14.06)], 0.28, ends="flush", simple_path=True, layer=36, datatype=0))  # metal2
d2s_tail_current_top.add(gdstk.FlexPath([(36.89,9.52),(36.89,10.5)], 0.28, ends="flush", simple_path=True, layer=36, datatype=0))  # metal2
d2s_tail_current_top.add(gdstk.FlexPath([(29.455,9.52),(29.455,10.5)], 0.28, ends="flush", simple_path=True, layer=36, datatype=0))  # metal2
d2s_tail_current_top.add(gdstk.FlexPath([(35.69,11.51),(34.29,11.51),(34.29,12.07),(32.89,12.07)], 0.28, ends="flush", simple_path=True, layer=36, datatype=0))  # metal2
d2s_tail_current_top.add(gdstk.FlexPath([(38.29,11.51),(36.89,11.51),(36.89,12.07),(35.49,12.07)], 0.28, ends="flush", simple_path=True, layer=36, datatype=0))  # metal2
d2s_tail_current_top.add(gdstk.FlexPath([(23.68,9.72),(26.76,9.72),(26.76,0.36),(23.68,0.36)], 0.72, ends="flush", simple_path=True, layer=31, datatype=0))  # pplus
d2s_tail_current_top.add(gdstk.FlexPath([(2.88,9.72),(-0.2,9.72),(-0.2,0.36),(2.88,0.36)], 0.72, ends="flush", simple_path=True, layer=31, datatype=0))  # pplus
d2s_tail_current_top.add(gdstk.FlexPath([(36.89,13.08),(36.89,14.06)], 0.28, ends="flush", simple_path=True, layer=42, datatype=0))  # metal3
d2s_tail_current_top.add(gdstk.FlexPath([(34.29,13.08),(34.29,14.06)], 0.28, ends="flush", simple_path=True, layer=42, datatype=0))  # metal3
d2s_tail_current_top.add(gdstk.FlexPath([(36.89,9.52),(36.89,10.5)], 0.28, ends="flush", simple_path=True, layer=42, datatype=0))  # metal3
d2s_tail_current_top.add(gdstk.Reference(delay_stage_ncell_4_1, (32.78,12.235)))
d2s_tail_current_top.add(gdstk.Reference(delay_stage_ncell_4_1, (32.78,11.345), x_reflection=True))
d2s_tail_current_top.add(gdstk.Reference(c_d2s_tail_current_ncell_4, (13.07,0)))
d2s_tail_current_top.add(gdstk.Reference(c_d2s_tail_current_ncell_4, (2.67,0)))
d2s_tail_current_top.add(gdstk.Reference(c_d2s_tail_current_ncell_4, (13.49,10.08), rotation=pi))
d2s_tail_current_top.add(gdstk.Reference(c_d2s_tail_current_ncell_4, (23.89,10.08), rotation=pi))
d2s_tail_current_top.add(gdstk.Reference(c_d2s_tail_current_ncell_1, (23.47,5.46)))
d2s_tail_current_top.add(gdstk.Reference(c_d2s_tail_current_ncell_1, (23.47,1.2)))
d2s_tail_current_top.add(gdstk.Reference(c_d2s_tail_current_ncell_1, (3.09,5.46), rotation=pi, x_reflection=True))
d2s_tail_current_top.add(gdstk.Reference(c_d2s_tail_current_ncell_1, (3.09,1.2), rotation=pi, x_reflection=True))

d2s_top = lib.new_cell('d2s_top')
d2s_top.add(gdstk.Reference(d2s_ncell_top, (3.015,4.635)))
d2s_top.add(gdstk.Reference(d2s_pcell_top, (2.41,12.515)))
d2s_top.add(gdstk.Reference(d2s_ncell_top, (16.795,4.635)))
d2s_top.add(gdstk.Reference(d2s_pcell_top, (16.19,12.515)))
d2s_top.add(gdstk.Reference(d2s_tail_current_top, (3.62,-6.77)))
d2s_top.add(gdstk.Reference(d2s_pcell_top, (32.18,9.265)))

lib.write_gds('d2s_top.gds')
